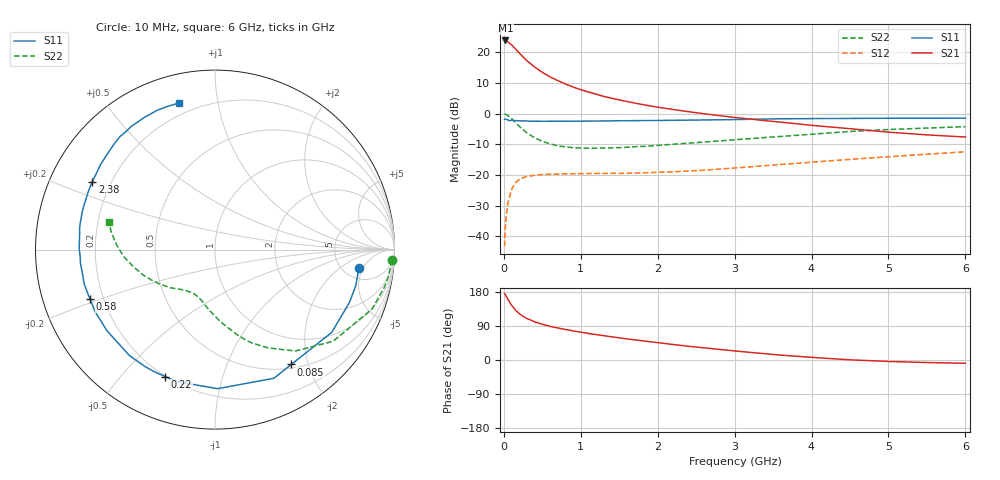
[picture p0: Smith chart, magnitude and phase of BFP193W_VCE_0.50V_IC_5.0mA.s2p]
! Infineon Technologies  Discrete & RF Semiconductors
! BFP193W
! VCE = 0.50V,  IC =  5.0 mA
! Common Emitter S-Parameters:  Jan 2016
# GHz  S  MA  R  50
!  f  S11  S21  S12  S22
! GHz  MAG  ANG  MAG  ANG  MAG  ANG  MAG  ANG
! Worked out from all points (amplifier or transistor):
!   210 points, 10 MHz to 6 GHz, reference 50 ohm
!   highest |S21| = 23.8 dB at 20 MHz (marker M1)
!   |S21| within 3 dB of that: start of sweep to 160.4 MHz
!   unconditionally stable (mu >= 1): 1.525 GHz to end of sweep
!   at 185 MHz: K = 0.15, MSG = 21.0 dB, |S12| = -21.8 dB
!   at 1.52 GHz: K = 1.00, MSG = 11.9 dB, |S12| = -19.5 dB
!   at 6 GHz: K = 1.14, MAG = 0.1 dB, |S12| = -12.5 dB
!   S11 on the Smith chart (normalised r, x): 10 MHz: 7.01, -4.11; 85 MHz: 0.55, -1.73; 220 MHz: 0.20, -0.66; 580 MHz: 0.15, -0.19; 2.38 GHz: 0.13, +0.25; 6 GHz: 0.14, +0.77
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0.01  0.8087 -7.2  15.55 175.3  0.0069 86.9  0.9868 -3.4
0.02  0.8096 -14.6  15.57 172.2  0.0141 82.2  0.9782 -8.7
0.05  0.7974 -35.3  14.98 160.9  0.0328 72.5  0.9357 -20.7
0.085  0.7683 -56.4  13.66 149.9  0.0499 60.4  0.8555 -32.3
0.1  0.7884 -65.4  13.27 144.6  0.0576 57.5  0.8332 -37.8
0.15  0.775 -88.9  11.4 131.6  0.0743 46.5  0.7208 -51.6
0.2  0.766 -106.3  9.695 122.2  0.084 38.8  0.6221 -61.7
0.22  0.7598 -111.4  9.144 119.6  0.0865 36.3  0.5907 -64.8
0.26  0.7594 -121.0  8.133 114.0  0.0913 32.1  0.5341 -71.1
0.3  0.7587 -128.9  7.252 109.3  0.0944 29.1  0.4845 -76.0
0.4  0.7528 -143.1  5.725 100.6  0.0991 23.7  0.4028 -85.7
0.5  0.752 -152.6  4.699 93.9  0.1017 20.5  0.3533 -92.9
0.58  0.7492 -158.4  4.111 90.0  0.1026 18.8  0.327 -97.6
0.8  0.7503 -170.0  3.029 80.3  0.1043 16.3  0.2865 -107.2
1.02  0.7529 -177.9  2.405 72.8  0.1052 15.8  0.274 -114.3
1.4  0.7631 171.5  1.781 61.2  0.1065 16.7  0.2771 -122.8
2.02  0.7731 157.7  1.261 45.1  0.1105 21.8  0.3047 -133.8
2.38  0.7808 151.0  1.082 36.7  0.1154 24.6  0.3291 -139.9
3.1  0.8026 138.2  0.841 22.1  0.1325 29.7  0.382 -152.4
4.1  0.8302 122.9  0.628 5.6  0.1651 31.6  0.4713 -169.4
5.1  0.84 111.6  0.488 -4.4  0.2021 29.7  0.5566 175.6
6  0.8409 103.8  0.415 -8.6  0.2384 26.5  0.6119 165.5
